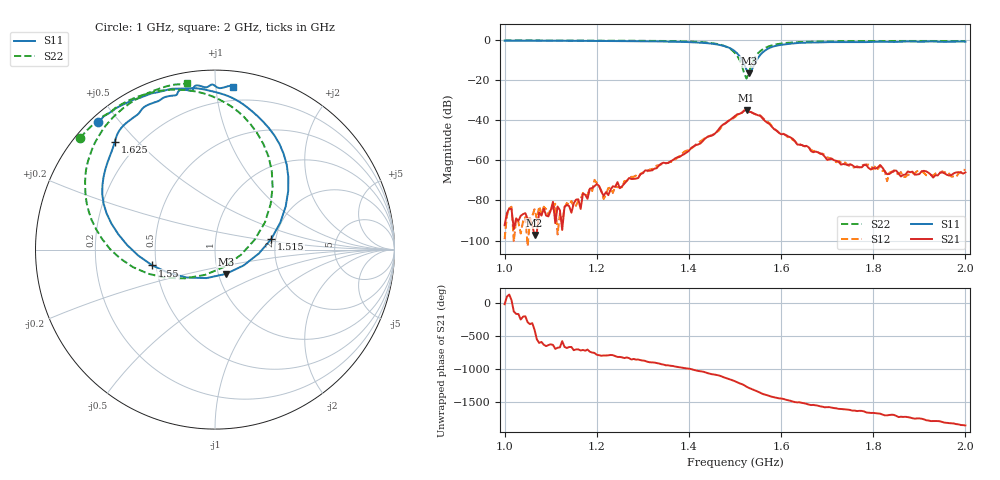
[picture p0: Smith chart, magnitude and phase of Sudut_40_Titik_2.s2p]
# Hz S RI R 50
! CMT, C1220, 16058040, 17.2.0/1
! Date: 14/08/2018 12:44:49
! Data: Format (Calibration Info)
! Freq  S11: Re/Im (F2)  S21: Re/Im (F2)  S12: Re/Im (F2)  S22: Re/Im (F2)
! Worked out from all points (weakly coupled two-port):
!   201 points, 1 GHz to 2 GHz, reference 50 ohm
!   highest |S21| = -34.93 dB at 1.525 GHz (marker M1); lowest = -97.3 dB at 1.065 GHz (marker M2)
!   lowest |S11| = -16.6 dB at 1.53 GHz (marker M3), VSWR 1.35, Z = 54.2 - j15 ohm
!   |S11| at or under -10 dB: 1.515 GHz to 1.547 GHz (31.87 MHz wide, 2.08 % of centre)
!   |S22| runs from -19.2 to -0.2 dB; largest |S21 - S12| = 0.00077
!   S11 on the Smith chart (normalised r, x): 1 GHz: 0.02, +0.44; 1.515 GHz: 1.89, +0.25; 1.55 GHz: 0.48, -0.10; 1.625 GHz: 0.12, +0.43; 2 GHz: 0.10, +1.11
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1e9  -0.6511 0.7134  2.29e-05 -7.2e-06  -5.49e-06 -9.36e-06  -0.752 0.6223
1.065e9  -0.5849 0.7635  9.25e-06 -1.01e-05  -3.38e-05 5.03e-05  -0.7074 0.6701
1.17e9  -0.4799 0.8234  0.000147 1.58e-05  0.00014 6.41e-05  -0.6164 0.7471
1.18e9  -0.4647 0.8306  0.000107 2.29e-05  0.00013 -4.98e-05  -0.6055 0.7534
1.19e9  -0.4492 0.8367  0.000173 -0.00011  0.000156 -7.24e-05  -0.5935 0.7588
1.195e9  -0.4427 0.8388  0.000176 -0.000141  0.0002 -0.000259  -0.5877 0.76
1.215e9  -0.4217 0.8447  2.82e-05 -0.000128  2.35e-05 -0.000106  -0.576 0.7691
1.225e9  -0.4068 0.85  3.31e-05 -0.000131  -1.98e-05 -0.000202  -0.5667 0.7795
1.335e9  -0.217 0.8963  -0.000704 0.00025  -0.00067 0.000327  -0.402 0.8615
1.45e9  0.1827 0.7901  0.00413 -0.000208  0.00423 -0.000487  0.021 0.8375
1.5e9  0.4079 0.3267  -0.00431 -0.012  -0.00403 -0.0113  0.3211 0.3494
1.515e9  0.314 0.0597  -0.0138 -0.00681  -0.0136 -0.00729  0.2209 0.0551
1.525e9  0.1588 -0.0888  -0.0175 0.0039  -0.0177 0.00382  0.0511 -0.0967
1.53e9  0.0599 -0.1357  -0.014 0.00836  -0.0142 0.0084  -0.0562 -0.1411
1.55e9  -0.349 -0.0885  -0.000293 0.0133  -0.000792 0.0133  -0.4577 -0.0972
1.625e9  -0.5582 0.6007  0.00185 -0.00293  0.00185 -0.00269  -0.6996 0.5184
1.67e9  -0.4439 0.7428  -0.000539 -0.0015  -0.000557 -0.00162  -0.6251 0.6684
1.755e9  -0.2781 0.8501  -0.000715 0.000223  -0.000638 0.00017  -0.4908 0.8033
1.815e9  -0.1829 0.8913  -0.000339 0.000685  5.07e-07 0.000739  -0.406 0.8564
1.83e9  -0.1469 0.8868  -1.05e-05 0.000452  -2.96e-05 0.000301  -0.3855 0.8661
1.835e9  -0.1367 0.8847  -5.52e-05 0.000454  -1.51e-05 0.000491  -0.379 0.8695
2e9  0.1016 0.9059  0.000231 -0.000445  0.000261 -0.000507  -0.1573 0.9295
